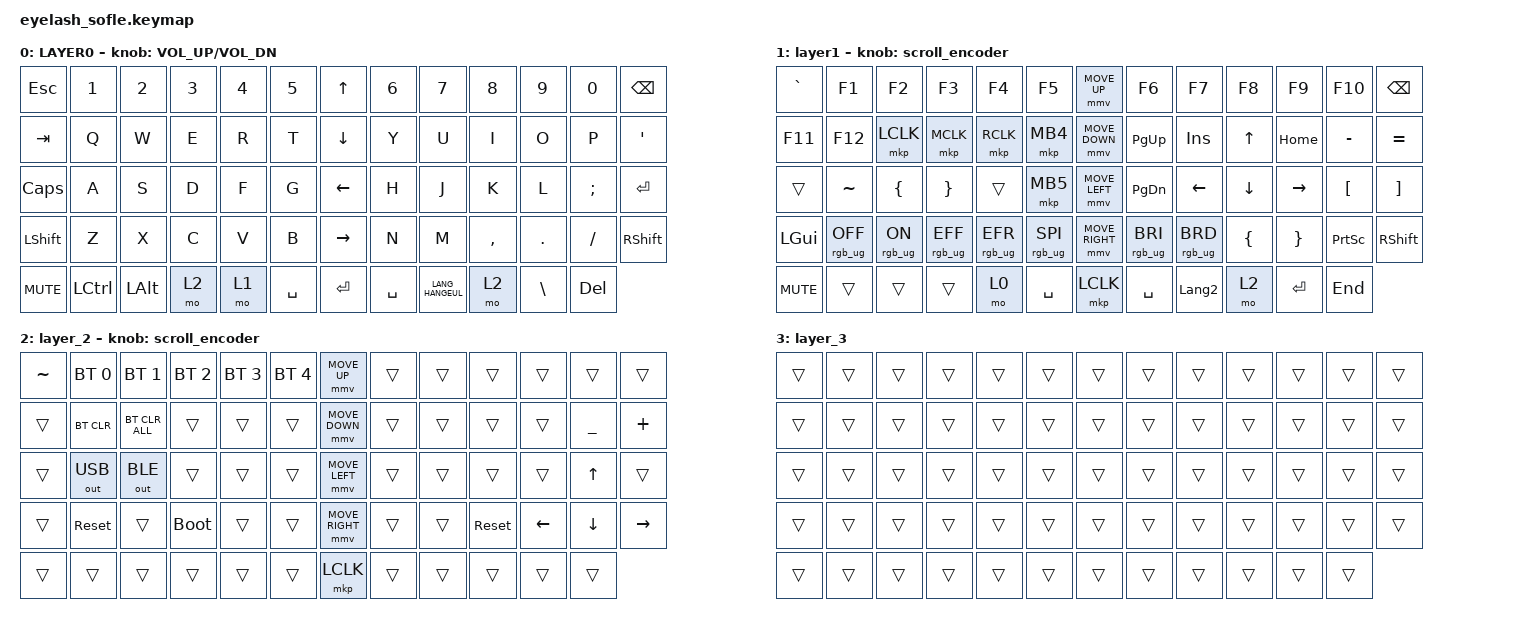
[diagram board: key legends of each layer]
#define ZMK_POINTING_DEFAULT_MOVE_VAL 1200  // 600
#define ZMK_POINTING_DEFAULT_SCRL_VAL 25   // 10

#include <input/processors.dtsi>
#include <zephyr/dt-bindings/input/input-event-codes.h>
#include <behaviors.dtsi>
#include <dt-bindings/zmk/bt.h>
#include <dt-bindings/zmk/keys.h>
#include <dt-bindings/zmk/outputs.h>
#include <dt-bindings/zmk/pointing.h>
#include <dt-bindings/zmk/rgb.h>

&mmv_input_listener { input-processors = <&zip_xy_scaler 2 1>; };

&msc_input_listener { input-processors = <&zip_scroll_scaler 2 1>; };

&msc {
    acceleration-exponent = <1>;      // 0
    time-to-max-speed-ms = <100>;       // 300
    delay-ms = <0>;                   // 0
};

&mmv {
    time-to-max-speed-ms = <500>;
    acceleration-exponent = <1>;
    trigger-period-ms = <16>;
};

&soft_off { hold-time-ms = <2000>; };

/ {
    scroll_encoder: scroll_encoder {
        compatible = "zmk,behavior-sensor-rotate";
        #sensor-binding-cells = <0>;
        bindings = <&msc SCRL_DOWN>, <&msc SCRL_UP>;

        tap-ms = <100>;
    };

    behaviors {
    };

    combos {
        compatible = "zmk,combos";

        softoff {
            bindings = <&soft_off>;
            key-positions = <14 28 40>;
        };
    };

    macros {
        new_macro: new_macro {
            compatible = "zmk,behavior-macro";
            #binding-cells = <0>;
            bindings = <&none>, <&macro_press>;

            label = "NEW_MACRO";
        };
    };

    keymap {
        compatible = "zmk,keymap";

        layer0 {
            bindings = <
&kp ESC     &kp N1     &kp N2    &kp N3  &kp N4  &kp N5       &kp UP_ARROW     &kp N6     &kp N7            &kp N8     &kp N9         &kp N0      &kp BACKSPACE
&kp TAB     &kp Q      &kp W     &kp E   &kp R   &kp T        &kp DOWN_ARROW   &kp Y      &kp U             &kp I      &kp O          &kp P       &kp APOS
&kp CAPS    &kp A      &kp S     &kp D   &kp F   &kp G        &kp LEFT_ARROW   &kp H      &kp J             &kp K      &kp L          &kp SEMI    &kp ENTER
&kp LSHFT   &kp Z      &kp X     &kp C   &kp V   &kp B        &kp RIGHT_ARROW  &kp N      &kp M             &kp COMMA  &kp DOT        &kp FSLH    &kp RIGHT_SHIFT
&kp C_MUTE  &kp LCTRL  &kp LALT  &mo 2   &mo 1   &kp SPACE    &kp ENTER        &kp SPACE  &kp LANG_HANGEUL  &mo 2      &kp BACKSLASH  &kp DELETE
            >;

            sensor-bindings = <&inc_dec_kp C_VOLUME_UP C_VOL_DN>;
            display-name = "LAYER0";
        };

        layer_1 {
            bindings = <
&kp GRAVE     &kp F1           &kp F2          &kp F3           &kp F4           &kp F5             &mmv MOVE_UP     &kp F6           &kp F7           &kp F8          &kp F9           &kp F10           &kp BACKSPACE
&kp F11       &kp F12          &mkp LCLK       &mkp MCLK        &mkp RCLK        &mkp MB4           &mmv MOVE_DOWN   &kp PG_UP        &kp INS          &kp UP          &kp HOME         &kp MINUS         &kp EQUAL
&trans        &kp TILDE        &kp LEFT_BRACE  &kp RIGHT_BRACE  &trans           &mkp MB5           &mmv MOVE_LEFT   &kp PG_DN        &kp LEFT         &kp DOWN        &kp RIGHT        &kp LEFT_BRACKET  &kp RIGHT_BRACKET
&kp LEFT_GUI  &rgb_ug RGB_OFF  &rgb_ug RGB_ON  &rgb_ug RGB_EFF  &rgb_ug RGB_EFR  &rgb_ug RGB_SPI    &mmv MOVE_RIGHT  &rgb_ug RGB_BRI  &rgb_ug RGB_BRD  &kp LEFT_BRACE  &kp RIGHT_BRACE  &kp PRINTSCREEN   &kp RSHFT
&kp C_MUTE    &trans           &trans          &trans           &mo 0            &kp SPACE          &mkp LCLK        &kp SPACE        &kp LANGUAGE_2   &mo 2           &kp ENTER        &kp END
            >;

            display-name = "layer1";
            sensor-bindings = <&scroll_encoder>;
        };

        layer_2 {
            bindings = <
&kp TILDE  &bt BT_SEL 0  &bt BT_SEL 1    &bt BT_SEL 2  &bt BT_SEL 3  &bt BT_SEL 4    &mmv MOVE_UP     &trans  &trans  &trans      &trans    &trans        &trans
&trans     &bt BT_CLR    &bt BT_CLR_ALL  &trans        &trans        &trans          &mmv MOVE_DOWN   &trans  &trans  &trans      &trans    &kp UNDER     &kp PLUS
&trans     &out OUT_USB  &out OUT_BLE    &trans        &trans        &trans          &mmv MOVE_LEFT   &trans  &trans  &trans      &trans    &kp UP_ARROW  &trans
&trans     &sys_reset    &trans          &bootloader   &trans        &trans          &mmv MOVE_RIGHT  &trans  &trans  &sys_reset  &kp LEFT  &kp DOWN      &kp RIGHT
&trans     &trans        &trans          &trans        &trans        &trans          &mkp LCLK        &trans  &trans  &trans      &trans    &trans
            >;

            sensor-bindings = <&scroll_encoder>;
        };

        layer_3 {
            bindings = <
&trans  &trans  &trans  &trans  &trans  &trans    &trans  &trans  &trans  &trans  &trans  &trans  &trans
&trans  &trans  &trans  &trans  &trans  &trans    &trans  &trans  &trans  &trans  &trans  &trans  &trans
&trans  &trans  &trans  &trans  &trans  &trans    &trans  &trans  &trans  &trans  &trans  &trans  &trans
&trans  &trans  &trans  &trans  &trans  &trans    &trans  &trans  &trans  &trans  &trans  &trans  &trans
&trans  &trans  &trans  &trans  &trans  &trans    &trans  &trans  &trans  &trans  &trans  &trans
            >;
        };
    };
};
